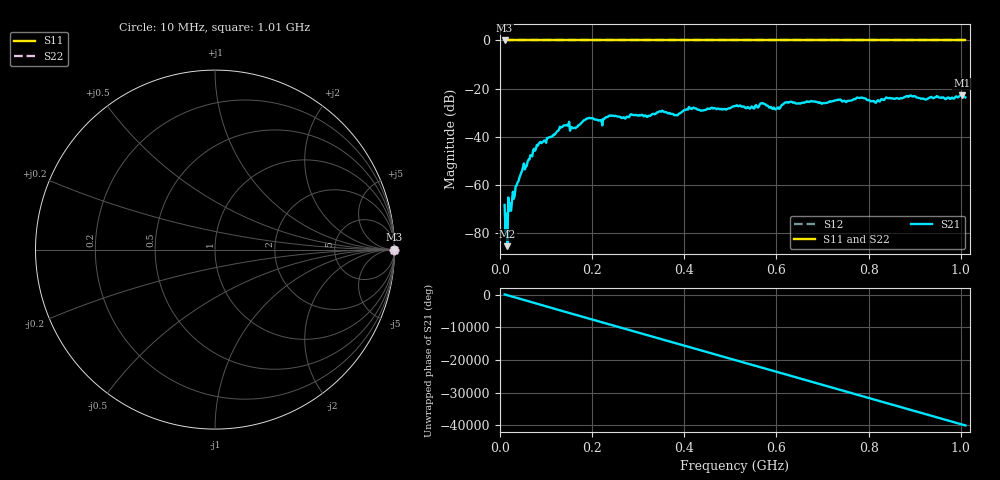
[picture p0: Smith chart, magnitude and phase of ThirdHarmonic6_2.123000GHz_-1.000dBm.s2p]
! 8/17/2025 1:22:49 AM
! C:\ANRITSUVNA\TEMP\TEMP.S2P
! CHANNEL.1
! TR.MEASUREMENT
! RAW.DATA
! RF.CORRECTION.OFF
! AVERAGING.OFF
! IF.BANDWIDTH: 5KHZ
! SWEEPTYPE:  FREQ.SWEEP(Linear)
! Reference Plane Port Info
! PORT:  PORT1  PORT2
! DISTANCE:  0  m  0  m
! TIME:  0  s  0  s
! PHASE.OFFSET:  0  deg.  0  deg.
! LOSS:  0  dB  0  dB
! REF.LOSS:  0  dB  0  dB
! REF.FREQ:  0  Hz  0  Hz
! Power Info
! POWER:  -20  dBm  -20  dBm
! EFF.POWER:  -20  dBm  -20  dBm
! SOURCE.ATTEN:  0  dB  0  dB
! TEST.ATTEN:  0  dB  0  dB
# GHZ S RI R 50.0
! FREQ.GHZ  S11RE  S11IM  S21RE  S21IM  S12RE  S12IM  S22RE  S22IM
!; PortSelection: Port_12
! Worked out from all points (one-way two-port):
!   501 points, 10 MHz to 1.01 GHz, reference 50 ohm
!   highest |S21| = -22.74 dB at 1.002 GHz (marker M1); lowest = -85.5 dB at 16 MHz (marker M2)
!   lowest |S11| = 0.0 dB at 10 MHz (marker M3)
!   |S11| at or under -10 dB: nowhere
!   |S22| runs from 0.0 to 0.0 dB; largest |S21 - S12| = 1.1
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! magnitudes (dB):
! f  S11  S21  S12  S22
! 10 MHz  0.0  -68.4  0.0  0.0
! 12 MHz  0.0  -79.6  0.0  0.0
! 16 MHz  0.0  -85.5  0.0  0.0
! 22 MHz  0.0  -67.7  0.0  0.0
! 48 MHz  0.0  -54.1  0.0  0.0
! 84 MHz  0.0  -43.0  0.0  0.0
! 134 MHz  0.0  -36.0  0.0  0.0
! 162 MHz  0.0  -36.3  0.0  0.0
! 178 MHz  0.0  -34.0  0.0  0.0
! 192 MHz  0.0  -32.3  0.0  0.0
! 344 MHz  0.0  -29.7  0.0  0.0
! 382 MHz  0.0  -31.0  0.0  0.0
! 414 MHz  0.0  -28.3  0.0  0.0
! 510 MHz  0.0  -27.3  0.0  0.0
! 548 MHz  0.0  -27.6  0.0  0.0
! 570 MHz  0.0  -26.1  0.0  0.0
! 596 MHz  0.0  -28.3  0.0  0.0
! 620 MHz  0.0  -25.7  0.0  0.0
! 678 MHz  0.0  -25.3  0.0  0.0
! 844 MHz  0.0  -24.0  0.0  0.0
! 1.002 GHz  0.0  -22.7  0.0  0.0
! 1.01 GHz  0.0  -23.7  0.0  0.0
